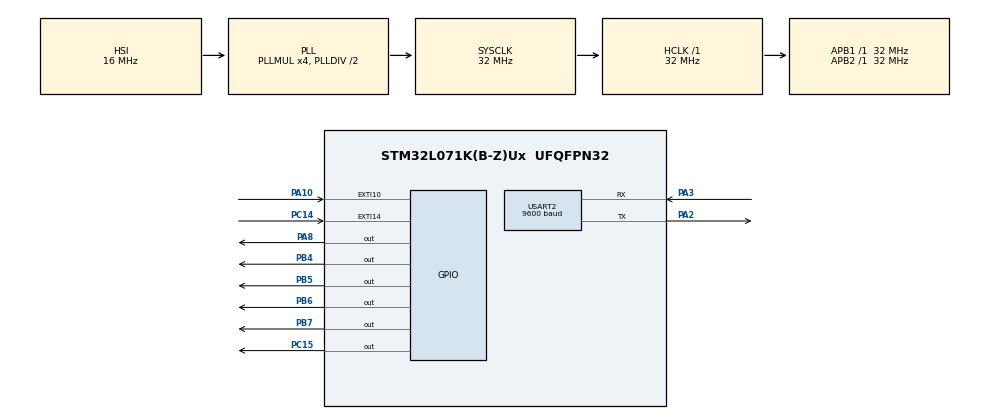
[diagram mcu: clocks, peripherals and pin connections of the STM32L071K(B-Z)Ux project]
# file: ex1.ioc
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Dma.MEMTOMEM.0.Direction=DMA_MEMORY_TO_MEMORY
Dma.MEMTOMEM.0.Instance=DMA1_Channel1
Dma.MEMTOMEM.0.MemDataAlignment=DMA_MDATAALIGN_BYTE
Dma.MEMTOMEM.0.MemInc=DMA_MINC_ENABLE
Dma.MEMTOMEM.0.Mode=DMA_NORMAL
Dma.MEMTOMEM.0.PeriphDataAlignment=DMA_PDATAALIGN_BYTE
Dma.MEMTOMEM.0.PeriphInc=DMA_PINC_ENABLE
Dma.MEMTOMEM.0.Priority=DMA_PRIORITY_LOW
Dma.Request0=MEMTOMEM
Dma.Request1=USART2_RX
Dma.USART2_RX.1.Direction=DMA_PERIPH_TO_MEMORY
Dma.USART2_RX.1.Instance=DMA1_Channel5
Dma.USART2_RX.1.MemDataAlignment=DMA_MDATAALIGN_BYTE
Dma.USART2_RX.1.MemInc=DMA_MINC_ENABLE
Dma.USART2_RX.1.Mode=DMA_CIRCULAR
Dma.USART2_RX.1.PeriphDataAlignment=DMA_PDATAALIGN_BYTE
Dma.USART2_RX.1.PeriphInc=DMA_PINC_DISABLE
Dma.USART2_RX.1.Priority=DMA_PRIORITY_LOW
Mcu.Family=STM32L0
Mcu.Name=STM32L071K(B-Z)Ux
Mcu.Package=UFQFPN32
NVIC.DMA1_Channel1_IRQn=true\:0\:0\:false\:false\:true\:true\:true
NVIC.DMA1_Channel4_5_6_7_IRQn=true\:0\:0\:false\:false\:true\:false\:true
NVIC.EXTI4_15_IRQn=true\:0\:0\:false\:false\:true\:true\:true
NVIC.TIM6_IRQn=true\:0\:0\:false\:false\:true\:true\:true
NVIC.USART2_IRQn=true\:0\:0\:false\:false\:true\:true\:true
PA10.Signal=GPXTI10
PA13.Mode=Serial_Wire
PA13.Signal=SYS_SWDIO
PA14.Mode=Serial_Wire
PA14.Signal=SYS_SWCLK
PA2.Mode=Asynchronous
PA2.Signal=USART2_TX
PA3.Mode=Asynchronous
PA3.Signal=USART2_RX
PA8.Signal=GPIO_Output
PB4.Signal=GPIO_Output
PB5.Signal=GPIO_Output
PB6.GPIO_FM6=I2C_FASTMODEPLUS_PB6
PB6.GPIO_ModeDefaultOutputPP=GPIO_MODE_OUTPUT_OD
PB6.GPIO_PuPd=GPIO_PULLDOWN
PB6.Signal=GPIO_Output
PB7.GPIO_FM7=I2C_FASTMODEPLUS_PB7
PB7.GPIO_ModeDefaultOutputPP=GPIO_MODE_OUTPUT_OD
PB7.GPIO_PuPd=GPIO_PULLDOWN
PB7.Signal=GPIO_Output
PC14-OSC32_IN.Signal=GPXTI14
PC15-OSC32_OUT.Signal=GPIO_Output
ProjectManager.HeapSize=0x200
ProjectManager.StackSize=0x400
ProjectManager.TargetToolchain=MDK-ARM V5
RCC.AHBFreq_Value=32000000
RCC.APB1Freq_Value=32000000
RCC.APB1TimFreq_Value=32000000
RCC.APB2Freq_Value=32000000
RCC.APB2TimFreq_Value=32000000
RCC.HCLKFreq_Value=32000000
RCC.HSI16_VALUE=16000000
RCC.HSI_VALUE=16000000
RCC.LSE_VALUE=32768
RCC.MSI_VALUE=2097000
RCC.PLLMUL=RCC_PLLMUL_4
RCC.SYSCLKFreq_VALUE=32000000
RCC.SYSCLKSource=RCC_SYSCLKSOURCE_PLLCLK
RCC.VCOOutputFreq_Value=64000000
RTC.SynchPrediv=307
TIM6.Period=999
TIM6.Prescaler=31
USART2.BaudRate=9600
USART2.VirtualMode-Asynchronous=VM_ASYNC
VP_CRC_VS_CRC.Mode=CRC_Activate
VP_RTC_VS_RTC_Activate.Mode=RTC_Enabled
VP_RTC_VS_RTC_Calendar.Mode=RTC_Calendar
VP_TIM6_VS_ClockSourceINT.Mode=Enable_Timer
board=custom

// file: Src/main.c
/* USER CODE BEGIN Header */
/**
  ******************************************************************************
  * @file           : main.c
  * @brief          : Main program body
  ******************************************************************************
  * @attention
  *
  * <h2><center>&copy; Copyright (c) 2019 STMicroelectronics.
  * All rights reserved.</center></h2>
  *
  * This software component is licensed by ST under BSD 3-Clause license,
  * the "License"; You may not use this file except in compliance with the
  * License. You may obtain a copy of the License at:
  *                        opensource.org/licenses/BSD-3-Clause
  *
  ******************************************************************************
  */
/* USER CODE END Header */

#include "main.h"
#include "crc.h"
#include "dma.h"
#include "rtc.h"
#include "tim.h"
#include "usart.h"
#include "gpio.h"

/* USER CODE BEGIN Includes */
#include "stm32l0xx_hal.h"
#include "zm4xx_gpio.h"
#include "spi.h"
#include "timer.h"
#include "stddef.h"
#include "sx127x_lora.h"
/* USER CODE END Includes */

/* USER CODE BEGIN PTD */
#define FREQ  (433000000)
void SystemClock_Config(void);
void Hardware_Init(void);
radio_handle_t  handle;
int ret = RADIO_RET_OK;

	uint16_t len = 0;
	uint8_t rx = 0;
	uint8_t tx = 0x55;
	uint8_t cntr = 0;
	unsigned int time_100ms=1,time_500ms=1;
	unsigned int lora_flag=2,send_allow=0;
/* USER CODE END PTD */

/* USER CODE BEGIN PD */
//ret = radio_buf_recv(handle, &rx, &len);
//			if(ret == RADIO_RET_OK){
//				if(rx == 0xAA){
//						HAL_GPIO_TogglePin(GPIOC, GPIO_PIN_15);
//				}
//			}
//
//			if(++cntr == 40){
//				radio_buf_send(handle, &tx, 1); 	//
//				radio_mode_set(handle, RX_MODE);
//				cntr = 0;
//			}
/* USER CODE END PD */

void SystemClock_Config(void);

/* USER CODE BEGIN 0 */
void Task_BrdInit(void)
{
    HAL_GPIO_WritePin(GPIOC, GPIO_PIN_15, GPIO_PIN_SET);

    OLED_PowerControl(ENABLE);

    HAL_Delay(200);
    OLED_Init();
    OLED_Clear();

    OLED_ShowString(0, 0, (unsigned char *)"                ", 16);
    OLED_ShowString(0, 2, (unsigned char *)"                ", 16);
}
void LoRa_Init(void)
{

	handle = radio_zm4xx_inst_init(spi_recv_byte,spi_send_byte,zm4xx_rst_pin_set,zm4xx_sel_pin_set,delay_ms,delay_us);

	if(handle != NULL){
		if(RADIO_RET_OK == radio_freq_set(handle, FREQ)){
				HAL_GPIO_WritePin(GPIOC, GPIO_PIN_15,GPIO_PIN_RESET);
		}

		radio_mode_set(handle, RX_MODE);	//Receive Mode
	}
}
/* USER CODE END 0 */

int main(void)
{
  /* USER CODE BEGIN 1 */
    char lcdLine_1st_line[16];
    char lcdLine_2st_line[16];

  /* USER CODE END 1 */

  /* MCU Configuration--------------------------------------------------------*/

  /* Reset of all peripherals, Initializes the Flash interface and the Systick. */
  HAL_Init();

  /* Configure the system clock */
  SystemClock_Config();

  /* Initialize all configured peripherals */
  MX_GPIO_Init();
  MX_DMA_Init();
  MX_CRC_Init();
  MX_USART2_UART_Init();
  MX_RTC_Init();
  MX_TIM6_Init();
  /* USER CODE BEGIN 2 */
    Task_BrdInit();
		zm4xx_pin_init(); //LORA��Ҫ
    spi_init();//LORA��Ҫ
		LoRa_Init();
		HAL_TIM_Base_Start_IT(&htim6);
		sprintf(lcdLine_1st_line, "GXCT IOT       ");
		sprintf(lcdLine_2st_line, "Hello World    ");
  /* USER CODE END 2 */

  /* Infinite loop */
    while (1)
    {

    /* USER CODE BEGIN 3 */
			if(time_100ms==1)
			{
				OLED_ShowString(0, 0, (unsigned char *)lcdLine_1st_line, 16);
				OLED_ShowString(0, 2, (unsigned char *)lcdLine_2st_line, 16);
			}
    }
  /* USER CODE END 3 */
}

void SystemClock_Config(void)
{
  RCC_OscInitTypeDef RCC_OscInitStruct = {0};
  RCC_ClkInitTypeDef RCC_ClkInitStruct = {0};
  RCC_PeriphCLKInitTypeDef PeriphClkInit = {0};

  /** Configure the main internal regulator output voltage
  */
  __HAL_PWR_VOLTAGESCALING_CONFIG(PWR_REGULATOR_VOLTAGE_SCALE1);
  /** Initializes the CPU, AHB and APB busses clocks
  */
  RCC_OscInitStruct.OscillatorType = RCC_OSCILLATORTYPE_HSI|RCC_OSCILLATORTYPE_LSI;
  RCC_OscInitStruct.HSIState = RCC_HSI_ON;
  RCC_OscInitStruct.HSICalibrationValue = RCC_HSICALIBRATION_DEFAULT;
  RCC_OscInitStruct.LSIState = RCC_LSI_ON;
  RCC_OscInitStruct.PLL.PLLState = RCC_PLL_ON;
  RCC_OscInitStruct.PLL.PLLSource = RCC_PLLSOURCE_HSI;
  RCC_OscInitStruct.PLL.PLLMUL = RCC_PLLMUL_4;
  RCC_OscInitStruct.PLL.PLLDIV = RCC_PLLDIV_2;
  if (HAL_RCC_OscConfig(&RCC_OscInitStruct) != HAL_OK)
  {
    Error_Handler();
  }
  /** Initializes the CPU, AHB and APB busses clocks
  */
  RCC_ClkInitStruct.ClockType = RCC_CLOCKTYPE_HCLK|RCC_CLOCKTYPE_SYSCLK
                              |RCC_CLOCKTYPE_PCLK1|RCC_CLOCKTYPE_PCLK2;
  RCC_ClkInitStruct.SYSCLKSource = RCC_SYSCLKSOURCE_PLLCLK;
  RCC_ClkInitStruct.AHBCLKDivider = RCC_SYSCLK_DIV1;
  RCC_ClkInitStruct.APB1CLKDivider = RCC_HCLK_DIV1;
  RCC_ClkInitStruct.APB2CLKDivider = RCC_HCLK_DIV1;

  if (HAL_RCC_ClockConfig(&RCC_ClkInitStruct, FLASH_LATENCY_1) != HAL_OK)
  {
    Error_Handler();
  }
  PeriphClkInit.PeriphClockSelection = RCC_PERIPHCLK_USART2|RCC_PERIPHCLK_RTC;
  PeriphClkInit.Usart2ClockSelection = RCC_USART2CLKSOURCE_PCLK1;
  PeriphClkInit.RTCClockSelection = RCC_RTCCLKSOURCE_LSI;
  if (HAL_RCCEx_PeriphCLKConfig(&PeriphClkInit) != HAL_OK)
  {
    Error_Handler();
  }
}

/* USER CODE BEGIN 4 */
void HAL_TIM_PeriodElapsedCallback(TIM_HandleTypeDef *htim)
{
	static unsigned int a1=0,a2=0;
	if(htim->Instance==TIM6)
	{
		a1++;
		a2++;
		if(a1==100)
		{
			time_100ms=!time_100ms;
			a1=0;
		}
		if(a2==800)
		{
			time_500ms=!time_500ms;
			a2=0;
		}
	}
}
void HAL_GPIO_EXTI_Callback(uint16_t GPIO_Pin)
{
	if(GPIO_Pin==GPIO_PIN_10)
	{
		if(send_allow==1)
		{
			ret = radio_buf_recv(handle, &rx, &len);
			lora_flag=1;
		}
	}
}
/* USER CODE END 4 */

void Error_Handler(void)
{
}

/************************ (C) COPYRIGHT STMicroelectronics *****END OF FILE****/
